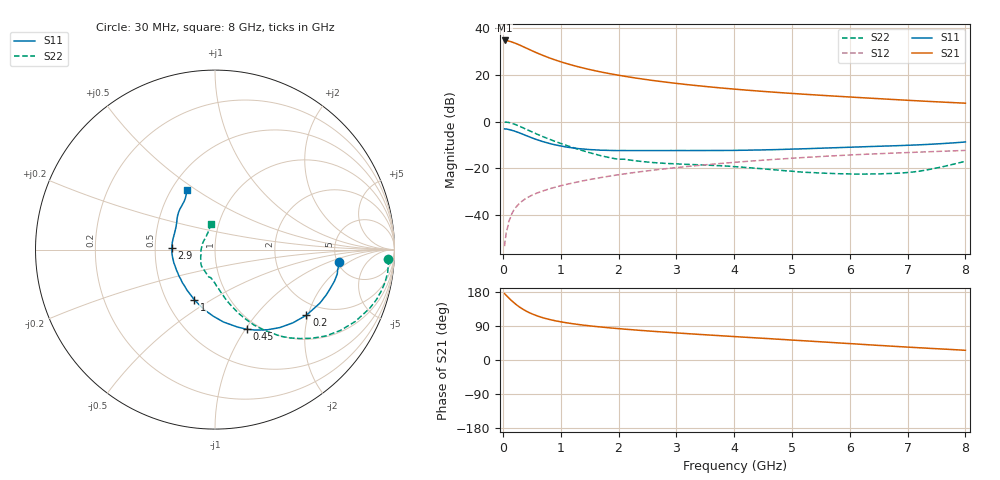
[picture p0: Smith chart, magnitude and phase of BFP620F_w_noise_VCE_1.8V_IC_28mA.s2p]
! Infineon Technologies  Discrete & RF Semiconductors
! BFP620F
! VCE =  1.8 V,  IC =  28 mA
! Common Emitter S-Parameters:  Dec 2014
# GHz  S  MA  R  50
!  f  S11  S21  S12  S22
! GHz  MAG  ANG  MAG  ANG  MAG  ANG  MAG  ANG
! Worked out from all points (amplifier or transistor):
!   95 points, 30 MHz to 8 GHz, reference 50 ohm
!   highest |S21| = 34.6 dB at 30 MHz (marker M1)
!   |S21| within 3 dB of that: start of sweep to 381.7 MHz
!   unconditionally stable (mu >= 1): 2.537 GHz to end of sweep
!   at 300 MHz: K = 0.36, MSG = 33.5 dB, |S12| = -34.6 dB
!   at 3.3 GHz: K = 1.02, MAG = 16.3 dB, |S12| = -18.9 dB
!   at 8 GHz: K = 1.06, MAG = 8.6 dB, |S12| = -12.3 dB
!   lowest NFmin = 1.08 dB at 450 MHz
!   S11 on the Smith chart (normalised r, x): 30 MHz: 5.21, -1.40; 200 MHz: 1.62, -1.95; 450 MHz: 0.88, -1.01; 1 GHz: 0.69, -0.42; 2.9 GHz: 0.61, +0.01; 8 GHz: 0.60, +0.46
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0.03  0.6968 -5.7  53.64 175.1  0.0022 75.8  0.9674 -3.2
0.07  0.6913 -13.0  53.09 168.7  0.0049 93.6  0.9671 -9.2
0.11  0.6732 -20.4  51.67 162.4  0.0078 79.9  0.9493 -15.2
0.15  0.6545 -27.4  50.04 156.8  0.0105 78.6  0.9217 -20.8
0.2  0.6269 -35.7  47.51 150.1  0.0137 74.0  0.8785 -27.1
0.25  0.5954 -43.3  44.93 143.9  0.0161 72.6  0.8313 -32.8
0.3  0.5648 -50.3  42.26 138.5  0.0187 70.7  0.7831 -37.9
0.4  0.5028 -63.1  37.1 129.3  0.0231 67.6  0.6867 -46.2
0.45  0.4772 -68.4  34.71 125.4  0.0248 66.3  0.6452 -49.7
0.6  0.4063 -83.3  28.69 116.0  0.0302 64.8  0.5321 -58.2
0.7  0.3707 -91.6  25.54 111.1  0.0334 64.0  0.4725 -62.7
0.8  0.3429 -99.2  22.88 107.2  0.0366 63.5  0.422 -66.3
1  0.302 -112.6  18.84 100.8  0.0428 63.2  0.3421 -72.4
1.2  0.2753 -124.2  15.93 95.9  0.0487 63.0  0.2825 -77.8
1.4  0.2592 -134.4  13.76 91.9  0.0549 63.1  0.236 -82.6
2  0.2405 -158.6  9.72 82.8  0.0734 61.9  0.1572 -99.1
2.7  0.2407 -177.4  7.229 74.6  0.0951 59.1  0.1307 -116.7
2.9  0.2409 178.3  6.735 72.6  0.1013 58.1  0.1267 -120.7
4.1  0.2438 157.3  4.805 60.9  0.1378 51.7  0.1074 -137.2
5.4  0.2677 142.5  3.699 48.9  0.1768 43.4  0.0811 -166.2
6.7  0.3024 129.0  2.979 36.7  0.211 34.2  0.078 148.1
8  0.3668 115.6  2.464 25.6  0.2424 25.3  0.142 99.5
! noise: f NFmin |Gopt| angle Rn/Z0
0.45  1.08  0.03  -173  0.19
0.9  1.11  0.04  -171  0.15
1.5  1.12  0.08  -149  0.15
1.8  1.14  0.08  -147  0.17
1.9  1.14  0.08  -146  0.15
2.4  1.16  0.09  -146  0.17
3.5  1.23  0.12  -142  0.17
5.5  1.38  0.2  239  0.13
6  1.42  0.2  259  0.15
